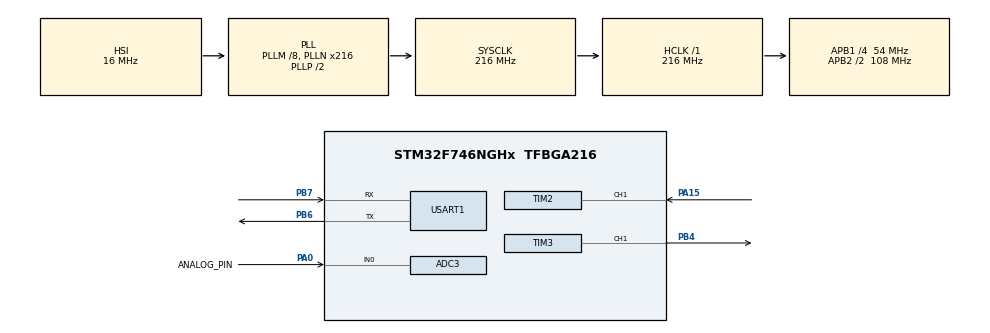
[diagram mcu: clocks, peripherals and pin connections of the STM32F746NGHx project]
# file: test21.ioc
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ADC3.Channel-0\#ChannelRegularConversion=ADC_CHANNEL_0
ADC3.NbrOfConversionFlag=1
ADC3.Rank-0\#ChannelRegularConversion=1
ADC3.SamplingTime-0\#ChannelRegularConversion=ADC_SAMPLETIME_3CYCLES
Mcu.Family=STM32F7
Mcu.Name=STM32F746NGHx
Mcu.Package=TFBGA216
NVIC.PriorityGroup=NVIC_PRIORITYGROUP_4
NVIC.TIM2_IRQn=true\:0\:0\:false\:false\:true\:true\:true
NVIC.USART1_IRQn=true\:0\:0\:false\:false\:true\:true\:true
PA0/WKUP.GPIO_Label=ANALOG_PIN
PA0/WKUP.Signal=ADCx_IN0
PA15.Signal=S_TIM2_CH1_ETR
PB4.Signal=S_TIM3_CH1
PB6.Mode=Asynchronous
PB6.Signal=USART1_TX
PB7.Mode=Asynchronous
PB7.Signal=USART1_RX
ProjectManager.HeapSize=0x200
ProjectManager.StackSize=0x400
ProjectManager.TargetToolchain=STM32CubeIDE
RCC.AHBFreq_Value=216000000
RCC.APB1CLKDivider=RCC_HCLK_DIV4
RCC.APB1Freq_Value=54000000
RCC.APB1TimFreq_Value=108000000
RCC.APB2CLKDivider=RCC_HCLK_DIV2
RCC.APB2Freq_Value=108000000
RCC.APB2TimFreq_Value=216000000
RCC.CortexFreq_Value=216000000
RCC.HCLKFreq_Value=216000000
RCC.HSE_VALUE=25000000
RCC.HSI_VALUE=16000000
RCC.PLLM=8
RCC.PLLN=216
RCC.SYSCLKFreq_VALUE=216000000
RCC.SYSCLKSource=RCC_SYSCLKSOURCE_PLLCLK
RCC.USBFreq_Value=216000000
RCC.VCOOutputFreq_Value=432000000
SH.ADCx_IN0.0=ADC3_IN0,IN0
SH.S_TIM2_CH1_ETR.0=TIM2_CH1,Input_Capture1_from_TI1
SH.S_TIM3_CH1.0=TIM3_CH1,PWM Generation1 CH1
TIM2.Channel-Input_Capture1_from_TI1=TIM_CHANNEL_1
TIM2.Period=65535-1
TIM3.AutoReloadPreload=TIM_AUTORELOAD_PRELOAD_DISABLE
TIM3.Channel-PWM\ Generation1\ CH1=TIM_CHANNEL_1
TIM3.OCFastMode_PWM-PWM\ Generation1\ CH1=TIM_OCFAST_ENABLE
TIM3.Period=100-1
TIM3.Prescaler=108-1
USART1.VirtualMode-Asynchronous=VM_ASYNC
board=STM32F746G-DISCO

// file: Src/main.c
/* USER CODE BEGIN Header */
/**
 ******************************************************************************
 * @file           : main.c
 * @brief          : Main program body
 ******************************************************************************
 * @attention
 *
 * <h2><center>&copy; Copyright (c) 2019 STMicroelectronics.
 * All rights reserved.</center></h2>
 *
 * This software component is licensed by ST under BSD 3-Clause license,
 * the "License"; You may not use this file except in compliance with the
 * License. You may obtain a copy of the License at:
 *                        opensource.org/licenses/BSD-3-Clause
 *
 ******************************************************************************
 */
/* USER CODE END Header */

#include "main.h"

/* USER CODE BEGIN Includes */
#include <string.h>

/* USER CODE END Includes */

/* USER CODE BEGIN PD */
#define UART_PUTCHAR int __io_putchar(int ch)

/* USER CODE END PD */

ADC_HandleTypeDef hadc3;

TIM_HandleTypeDef htim2;
TIM_HandleTypeDef htim3;

UART_HandleTypeDef huart1;

void SystemClock_Config(void);
static void MX_GPIO_Init(void);
static void MX_ADC3_Init(void);
static void MX_TIM2_Init(void);
static void MX_TIM3_Init(void);
static void MX_USART1_UART_Init(void);

int main(void) {

	/* MCU Configuration--------------------------------------------------------*/

	/* Reset of all peripherals, Initializes the Flash interface and the Systick. */
	HAL_Init();

	/* Configure the system clock */
	SystemClock_Config();

	/* Initialize all configured peripherals */
	MX_GPIO_Init();
	MX_ADC3_Init();
	MX_TIM2_Init();
	MX_TIM3_Init();
	MX_USART1_UART_Init();
	/* USER CODE BEGIN 2 */
	HAL_TIM_PWM_Start(&htim3, TIM_CHANNEL_1);

	HAL_TIM_IC_Start_IT(&htim2, TIM_CHANNEL_1);
	HAL_TIM_Base_Start_IT(&htim2);

	/* USER CODE END 2 */

	/* Infinite loop */
	/* USER CODE BEGIN WHILE */
	int adc_val = 0;

	while (1) {
		HAL_Delay(250);
		HAL_ADC_Start(&hadc3);
		if (HAL_ADC_PollForConversion(&hadc3, 10) == HAL_OK) {
			adc_val = HAL_ADC_GetValue(&hadc3);
			//printf("ADC value: %d.\n", adc_val);
			__HAL_TIM_SET_COMPARE(&htim3, TIM_CHANNEL_1, adc_val / 40);
		}
		/* USER CODE END WHILE */

	}
}

void SystemClock_Config(void) {
	RCC_OscInitTypeDef RCC_OscInitStruct = { 0 };
	RCC_ClkInitTypeDef RCC_ClkInitStruct = { 0 };
	RCC_PeriphCLKInitTypeDef PeriphClkInitStruct = { 0 };

	/** Configure the main internal regulator output voltage
	 */
	__HAL_RCC_PWR_CLK_ENABLE()
	;
	__HAL_PWR_VOLTAGESCALING_CONFIG(PWR_REGULATOR_VOLTAGE_SCALE1);
	/** Initializes the CPU, AHB and APB busses clocks
	 */
	RCC_OscInitStruct.OscillatorType = RCC_OSCILLATORTYPE_HSI;
	RCC_OscInitStruct.HSIState = RCC_HSI_ON;
	RCC_OscInitStruct.HSICalibrationValue = RCC_HSICALIBRATION_DEFAULT;
	RCC_OscInitStruct.PLL.PLLState = RCC_PLL_ON;
	RCC_OscInitStruct.PLL.PLLSource = RCC_PLLSOURCE_HSI;
	RCC_OscInitStruct.PLL.PLLM = 8;
	RCC_OscInitStruct.PLL.PLLN = 216;
	RCC_OscInitStruct.PLL.PLLP = RCC_PLLP_DIV2;
	RCC_OscInitStruct.PLL.PLLQ = 2;
	if (HAL_RCC_OscConfig(&RCC_OscInitStruct) != HAL_OK) {
		Error_Handler();
	}
	/** Activate the Over-Drive mode
	 */
	if (HAL_PWREx_EnableOverDrive() != HAL_OK) {
		Error_Handler();
	}
	/** Initializes the CPU, AHB and APB busses clocks
	 */
	RCC_ClkInitStruct.ClockType = RCC_CLOCKTYPE_HCLK | RCC_CLOCKTYPE_SYSCLK
			| RCC_CLOCKTYPE_PCLK1 | RCC_CLOCKTYPE_PCLK2;
	RCC_ClkInitStruct.SYSCLKSource = RCC_SYSCLKSOURCE_PLLCLK;
	RCC_ClkInitStruct.AHBCLKDivider = RCC_SYSCLK_DIV1;
	RCC_ClkInitStruct.APB1CLKDivider = RCC_HCLK_DIV4;
	RCC_ClkInitStruct.APB2CLKDivider = RCC_HCLK_DIV2;

	if (HAL_RCC_ClockConfig(&RCC_ClkInitStruct, FLASH_LATENCY_7) != HAL_OK) {
		Error_Handler();
	}
	PeriphClkInitStruct.PeriphClockSelection = RCC_PERIPHCLK_USART1;
	PeriphClkInitStruct.Usart1ClockSelection = RCC_USART1CLKSOURCE_PCLK2;
	if (HAL_RCCEx_PeriphCLKConfig(&PeriphClkInitStruct) != HAL_OK) {
		Error_Handler();
	}
}

static void MX_ADC3_Init(void) {

	ADC_ChannelConfTypeDef sConfig = { 0 };

	/** Configure the global features of the ADC (Clock, Resolution, Data Alignment and number of conversion)
	 */
	hadc3.Instance = ADC3;
	hadc3.Init.ClockPrescaler = ADC_CLOCK_SYNC_PCLK_DIV4;
	hadc3.Init.Resolution = ADC_RESOLUTION_12B;
	hadc3.Init.ScanConvMode = DISABLE;
	hadc3.Init.ContinuousConvMode = DISABLE;
	hadc3.Init.DiscontinuousConvMode = DISABLE;
	hadc3.Init.ExternalTrigConvEdge = ADC_EXTERNALTRIGCONVEDGE_NONE;
	hadc3.Init.ExternalTrigConv = ADC_SOFTWARE_START;
	hadc3.Init.DataAlign = ADC_DATAALIGN_RIGHT;
	hadc3.Init.NbrOfConversion = 1;
	hadc3.Init.DMAContinuousRequests = DISABLE;
	hadc3.Init.EOCSelection = ADC_EOC_SINGLE_CONV;
	if (HAL_ADC_Init(&hadc3) != HAL_OK) {
		Error_Handler();
	}
	/** Configure for the selected ADC regular channel its corresponding rank in the sequencer and its sample time.
	 */
	sConfig.Channel = ADC_CHANNEL_0;
	sConfig.Rank = ADC_REGULAR_RANK_1;
	sConfig.SamplingTime = ADC_SAMPLETIME_3CYCLES;
	if (HAL_ADC_ConfigChannel(&hadc3, &sConfig) != HAL_OK) {
		Error_Handler();
	}

}

static void MX_TIM2_Init(void) {

	TIM_MasterConfigTypeDef sMasterConfig = { 0 };
	TIM_IC_InitTypeDef sConfigIC = { 0 };

	htim2.Instance = TIM2;
	htim2.Init.Prescaler = 0;
	htim2.Init.CounterMode = TIM_COUNTERMODE_UP;
	htim2.Init.Period = 65535 - 1;
	htim2.Init.ClockDivision = TIM_CLOCKDIVISION_DIV1;
	htim2.Init.AutoReloadPreload = TIM_AUTORELOAD_PRELOAD_DISABLE;
	if (HAL_TIM_IC_Init(&htim2) != HAL_OK) {
		Error_Handler();
	}
	sMasterConfig.MasterOutputTrigger = TIM_TRGO_RESET;
	sMasterConfig.MasterSlaveMode = TIM_MASTERSLAVEMODE_DISABLE;
	if (HAL_TIMEx_MasterConfigSynchronization(&htim2, &sMasterConfig)
			!= HAL_OK) {
		Error_Handler();
	}
	sConfigIC.ICPolarity = TIM_INPUTCHANNELPOLARITY_RISING;
	sConfigIC.ICSelection = TIM_ICSELECTION_DIRECTTI;
	sConfigIC.ICPrescaler = TIM_ICPSC_DIV1;
	sConfigIC.ICFilter = 0;
	if (HAL_TIM_IC_ConfigChannel(&htim2, &sConfigIC, TIM_CHANNEL_1) != HAL_OK) {
		Error_Handler();
	}

}

static void MX_TIM3_Init(void) {

	TIM_MasterConfigTypeDef sMasterConfig = { 0 };
	TIM_OC_InitTypeDef sConfigOC = { 0 };

	htim3.Instance = TIM3;
	htim3.Init.Prescaler = 108 - 1;
	htim3.Init.CounterMode = TIM_COUNTERMODE_UP;
	htim3.Init.Period = 100 - 1;
	htim3.Init.ClockDivision = TIM_CLOCKDIVISION_DIV1;
	htim3.Init.AutoReloadPreload = TIM_AUTORELOAD_PRELOAD_DISABLE;
	if (HAL_TIM_PWM_Init(&htim3) != HAL_OK) {
		Error_Handler();
	}
	sMasterConfig.MasterOutputTrigger = TIM_TRGO_RESET;
	sMasterConfig.MasterSlaveMode = TIM_MASTERSLAVEMODE_DISABLE;
	if (HAL_TIMEx_MasterConfigSynchronization(&htim3, &sMasterConfig)
			!= HAL_OK) {
		Error_Handler();
	}
	sConfigOC.OCMode = TIM_OCMODE_PWM1;
	sConfigOC.Pulse = 50;
	sConfigOC.OCPolarity = TIM_OCPOLARITY_HIGH;
	sConfigOC.OCFastMode = TIM_OCFAST_ENABLE;
	if (HAL_TIM_PWM_ConfigChannel(&htim3, &sConfigOC, TIM_CHANNEL_1)
			!= HAL_OK) {
		Error_Handler();
	}
	HAL_TIM_MspPostInit(&htim3);

}

static void MX_USART1_UART_Init(void) {

	huart1.Instance = USART1;
	huart1.Init.BaudRate = 115200;
	huart1.Init.WordLength = UART_WORDLENGTH_8B;
	huart1.Init.StopBits = UART_STOPBITS_1;
	huart1.Init.Parity = UART_PARITY_NONE;
	huart1.Init.Mode = UART_MODE_TX_RX;
	huart1.Init.HwFlowCtl = UART_HWCONTROL_NONE;
	huart1.Init.OverSampling = UART_OVERSAMPLING_16;
	huart1.Init.OneBitSampling = UART_ONE_BIT_SAMPLE_DISABLE;
	huart1.AdvancedInit.AdvFeatureInit = UART_ADVFEATURE_NO_INIT;
	if (HAL_UART_Init(&huart1) != HAL_OK) {
		Error_Handler();
	}

}

static void MX_GPIO_Init(void) {

	/* GPIO Ports Clock Enable */
	__HAL_RCC_GPIOB_CLK_ENABLE()
	;
	__HAL_RCC_GPIOA_CLK_ENABLE()
	;

}

/* USER CODE BEGIN 4 */
UART_PUTCHAR {
	HAL_UART_Transmit(&huart1, (uint8_t*) &ch, 1, 0xFFFF);
	return ch;
}

void HAL_TIM_IC_CaptureCallback (TIM_HandleTypeDef * htim)
{
	int infra_data;
	if(htim->Instance == TIM2) {
		infra_data = HAL_TIM_ReadCapturedValue(&htim2, TIM_CHANNEL_1);
		printf("Infra data: %d\n", infra_data);
	}
}
/* USER CODE END 4 */

void Error_Handler(void) {
}

/************************ (C) COPYRIGHT STMicroelectronics *****END OF FILE****/
